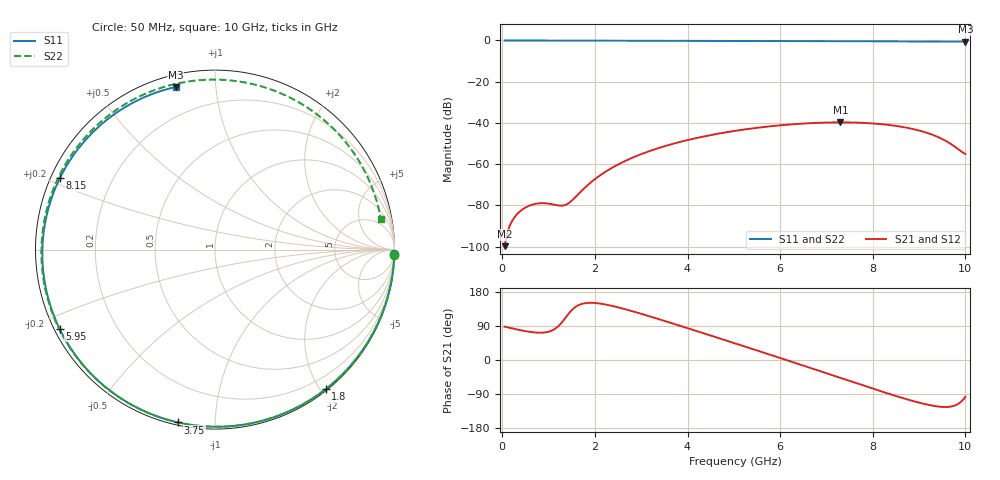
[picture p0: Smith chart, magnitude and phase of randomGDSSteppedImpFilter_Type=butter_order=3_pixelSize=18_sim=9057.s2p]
! freq	dB(S11)	phase(S11)	dB(S12)	phase(S12)
!  dB(S21)	phase(S21)	dB(S22)	phase(S22)
!S-par simulation data
#  GHz  S  DB  R 50
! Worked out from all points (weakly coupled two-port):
!   200 points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, 50 MHz to 10 GHz, reference 50 ohm
!   highest |S21| = -39.75 dB at 7.3 GHz (marker M1); lowest = -99.8 dB at 50 MHz (marker M2)
!   lowest |S11| = -0.6 dB at 10 GHz (marker M3), VSWR 28.31, Z = 2.86 + j39.2 ohm
!   |S11| at or under -10 dB: nowhere
!   |S22| runs from -0.5 to 0.0 dB; largest |S21 - S12| = 0
!   S11 on the Smith chart (normalised r, x): 50 MHz: 2, -77; 1.8 GHz: 0.02, -2.07; 3.75 GHz: 0.01, -0.81; 5.95 GHz: 0.02, -0.24; 8.15 GHz: 0.03, +0.22; 10 GHz: 0.06, +0.78
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0.05  -0.00 -1.5  -99.81 88.1  -99.81 88.1  -0.01 -1.7
0.65  -0.02 -19.1  -79.66 73.4  -79.66 73.4  -0.03 -21.3
0.9  -0.03 -26.3  -78.95 72.5  -78.95 72.5  -0.04 -29.4
1.35  -0.05 -39.1  -79.90 109.2  -79.90 109.2  -0.06 -43.8
1.5  -0.05 -43.3  -77.73 131.6  -77.73 131.6  -0.06 -48.6
1.75  -0.06 -50.2  -72.15 149.1  -72.15 149.1  -0.07 -56.5
1.8  -0.06 -51.6  -71.09 150.2  -71.09 150.2  -0.07 -58.0
2.45  -0.09 -69.1  -60.78 140.5  -60.78 140.5  -0.10 -78.2
3.4  -0.12 -93.4  -52.03 107.1  -52.03 107.1  -0.14 -107.0
3.75  -0.13 -102.0  -49.76 93.7  -49.76 93.7  -0.16 -117.5
4.45  -0.16 -118.7  -46.14 66.5  -46.14 66.5  -0.20 -138.7
5.05  -0.19 -132.6  -43.78 43.0  -43.78 43.0  -0.24 -157.2
5.95  -0.25 -153.0  -41.29 7.3  -41.29 7.3  -0.31 173.5
6.7  -0.30 -170.2  -40.08 -22.9  -40.08 -22.9  -0.37 147.0
7.3  -0.35 175.8  -39.75 -47.2  -39.75 -47.2  -0.42 124.0
7.75  -0.39 165.0  -39.95 -65.5  -39.95 -65.5  -0.45 105.8
8.15  -0.43 155.1  -40.54 -81.5  -40.54 -81.5  -0.47 89.0
8.35  -0.45 150.0  -41.01 -89.3  -41.01 -89.3  -0.48 80.5
8.8  -0.49 138.2  -42.64 -105.9  -42.64 -105.9  -0.50 61.0
9.3  -0.54 124.4  -45.86 -120.7  -45.86 -120.7  -0.51 39.4
9.6  -0.57 115.7  -49.04 -124.0  -49.04 -124.0  -0.52 26.8
10  -0.61 103.6  -55.12 -97.3  -55.12 -97.3  -0.54 10.5
